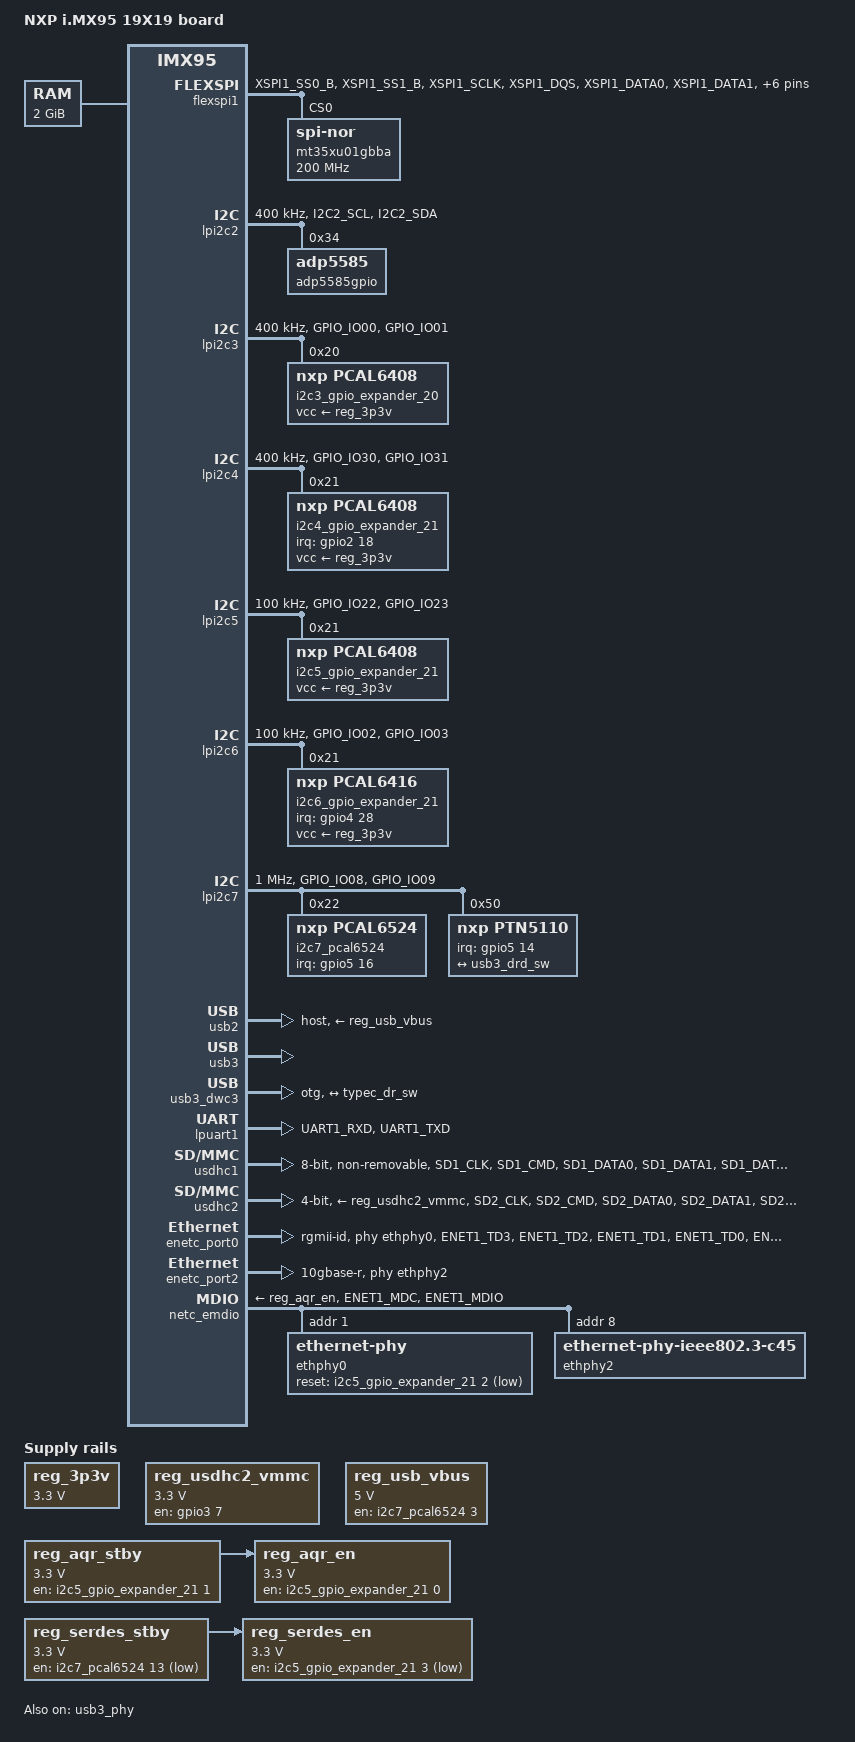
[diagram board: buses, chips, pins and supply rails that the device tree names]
// SPDX-License-Identifier: (GPL-2.0+ OR MIT)
/*
 * Copyright 2023 NXP
 */

/dts-v1/;

#include <dt-bindings/phy/phy-imx8-pcie.h>
#include <dt-bindings/usb/pd.h>
#include "imx95.dtsi"

/ {
	model = "NXP i.MX95 19X19 board";
	compatible = "fsl,imx95-19x19-evk", "fsl,imx95";

	chosen {
		bootargs = "console=ttyLP0,115200 earlycon";
		stdout-path = &lpuart1;
	};

	memory@80000000 {
		device_type = "memory";
		reg = <0x0 0x80000000 0 0x80000000>;
	};


	reg_3p3v: regulator-3p3v {
		compatible = "regulator-fixed";
		regulator-max-microvolt = <3300000>;
		regulator-min-microvolt = <3300000>;
		regulator-name = "+V3.3_SW";
	};
	reg_usdhc2_vmmc: regulator-usdhc2 {
		compatible = "regulator-fixed";
		pinctrl-names = "default";
		pinctrl-0 = <&pinctrl_reg_usdhc2_vmmc>;
		regulator-name = "VDD_SD2_3V3";
		regulator-min-microvolt = <3300000>;
		regulator-max-microvolt = <3300000>;
		gpio = <&gpio3 7 GPIO_ACTIVE_HIGH>;
		off-on-delay-us = <12000>;
		enable-active-high;
	};

	reg_usb_vbus: regulator-vbus {
		compatible = "regulator-fixed";
		regulator-name = "USB_VBUS";
		regulator-min-microvolt = <5000000>;
		regulator-max-microvolt = <5000000>;
		gpio = <&i2c7_pcal6524 3 GPIO_ACTIVE_HIGH>;
		enable-active-high;
		regulator-always-on;
	};

	reg_aqr_stby: regulator-aqr-stby {
		compatible = "regulator-fixed";
		regulator-name = "aqr-stby";
		regulator-min-microvolt = <3300000>;
		regulator-max-microvolt = <3300000>;
		gpio = <&i2c5_gpio_expander_21 1 GPIO_ACTIVE_HIGH>;
		enable-active-high;
	};

	reg_aqr_en: regulator-aqr-en {
		compatible = "regulator-fixed";
		regulator-name = "aqr-en";
		regulator-min-microvolt = <3300000>;
		regulator-max-microvolt = <3300000>;
		vin-supply = <&reg_aqr_stby>;
		gpio = <&i2c5_gpio_expander_21 0 GPIO_ACTIVE_HIGH>;
		enable-active-high;
	};

	reg_serdes_stby: regulator-mac-stby {
		compatible = "regulator-fixed";
		regulator-name = "mac-stby";
		regulator-min-microvolt = <3300000>;
		regulator-max-microvolt = <3300000>;
		gpio = <&i2c7_pcal6524 13 GPIO_ACTIVE_LOW>;
	};

	reg_serdes_en: regulator-mac-en {
		compatible = "regulator-fixed";
		regulator-name = "mac-en";
		regulator-min-microvolt = <3300000>;
		regulator-max-microvolt = <3300000>;
		vin-supply = <&reg_serdes_stby>;
		gpio = <&i2c5_gpio_expander_21 3 GPIO_ACTIVE_LOW>;
	};
};

&flexspi1 {
	pinctrl-names = "default";
	pinctrl-0 = <&pinctrl_flexspi1>;
	status = "okay";

	mt35xu01gbba: flash@0 {
		reg = <0>;
		#address-cells = <1>;
		#size-cells = <1>;
		compatible = "jedec,spi-nor";
		spi-max-frequency = <200000000>;
		spi-tx-bus-width = <8>;
		spi-rx-bus-width = <8>;
	};
};


&lpi2c2 {
	#address-cells = <1>;
	#size-cells = <0>;
	clock-frequency = <400000>;
	pinctrl-names = "default", "sleep";
	pinctrl-0 = <&pinctrl_lpi2c2>;
	pinctrl-1 = <&pinctrl_lpi2c2>;
	status = "okay";

	adp5585gpio: gpio@34 {
		compatible = "adp5585";
		reg = <0x34>;
		gpio-controller;
		#gpio-cells = <2>;
	};
};

&lpi2c3 {
	#address-cells = <1>;
	#size-cells = <0>;
	clock-frequency = <400000>;
	pinctrl-names = "default", "sleep";
	pinctrl-0 = <&pinctrl_lpi2c3>;
	pinctrl-1 = <&pinctrl_lpi2c3>;
	status = "okay";

	i2c3_gpio_expander_20: i2c3-gpio-expander@20 {
		compatible = "nxp,pcal6408";
		#gpio-cells = <2>;
		gpio-controller;
		reg = <0x20>;
		vcc-supply = <&reg_3p3v>;
	};
};

&lpi2c4 {
	#address-cells = <1>;
	#size-cells = <0>;
	clock-frequency = <400000>;
	pinctrl-names = "default", "sleep";
	pinctrl-0 = <&pinctrl_lpi2c4>;
	pinctrl-1 = <&pinctrl_lpi2c4>;
	status = "okay";

	i2c4_gpio_expander_21: i2c4-gpio-expander@21 {
		compatible = "nxp,pcal6408";
		#gpio-cells = <2>;
		gpio-controller;
		reg = <0x21>;
		interrupt-controller;
		#interrupt-cells = <2>;
		interrupt-parent = <&gpio2>;
		interrupts = <18 IRQ_TYPE_LEVEL_LOW>;
		pinctrl-names = "default";
		pinctrl-0 = <&pinctrl_i2c4_pcal6408>;
		vcc-supply = <&reg_3p3v>;
	};
};

&lpi2c5 {
	#address-cells = <1>;
	#size-cells = <0>;
	clock-frequency = <100000>;
	pinctrl-names = "default", "sleep";
	pinctrl-0 = <&pinctrl_lpi2c5>;
	pinctrl-1 = <&pinctrl_lpi2c5>;
	status = "okay";

	i2c5_gpio_expander_21: i2c5-gpio-expander@21 {
		compatible = "nxp,pcal6408";
		#gpio-cells = <2>;
		gpio-controller;
		reg = <0x21>;
		vcc-supply = <&reg_3p3v>;
	};

	/* ENET PMIC MPF5103 addr 0x8 */
};

&lpi2c6 {
	#address-cells = <1>;
	#size-cells = <0>;
	clock-frequency = <100000>;
	pinctrl-names = "default", "sleep";
	pinctrl-0 = <&pinctrl_lpi2c6>;
	pinctrl-1 = <&pinctrl_lpi2c6>;
	status = "okay";

	i2c6_gpio_expander_21: i2c6-gpio-expander@21 {
		compatible = "nxp,pcal6416";
		#gpio-cells = <2>;
		gpio-controller;
		reg = <0x21>;
		interrupt-controller;
		#interrupt-cells = <2>;
		interrupt-parent = <&gpio4>;
		interrupts = <28 IRQ_TYPE_LEVEL_LOW>;
		pinctrl-names = "default";
		pinctrl-0 = <&pinctrl_pcal6416>;
		vcc-supply = <&reg_3p3v>;
	};
};

&lpi2c7 {
	#address-cells = <1>;
	#size-cells = <0>;
	clock-frequency = <1000000>;
	pinctrl-names = "default", "sleep";
	pinctrl-0 = <&pinctrl_lpi2c7>;
	pinctrl-1 = <&pinctrl_lpi2c7>;
	status = "okay";

	i2c7_pcal6524: i2c7-gpio@22 {
		compatible = "nxp,pcal6524";
		pinctrl-names = "default";
		pinctrl-0 = <&pinctrl_i2c7_pcal6524>;
		reg = <0x22>;
		gpio-controller;
		#gpio-cells = <2>;
		interrupt-controller;
		#interrupt-cells = <2>;
		interrupt-parent = <&gpio5>;
		interrupts = <16 IRQ_TYPE_LEVEL_LOW>;
	};

	ptn5110: tcpc@50 {
		compatible = "nxp,ptn5110";
		reg = <0x50>;
		interrupt-parent = <&gpio5>;
		interrupts = <14 IRQ_TYPE_LEVEL_LOW>;
		pinctrl-names = "default";
		pinctrl-0 = <&pinctrl_ptn5110>;

		port {
			typec_dr_sw: endpoint {
				remote-endpoint = <&usb3_drd_sw>;
			};
		};

		typec1_con: connector {
			compatible = "usb-c-connector";
			label = "USB-C";
			power-role = "dual";
			data-role = "dual";
			try-power-role = "sink";
			source-pdos = <PDO_FIXED(5000, 3000, PDO_FIXED_USB_COMM)>;
			sink-pdos = <PDO_FIXED(5000, 3000, PDO_FIXED_USB_COMM)
				     PDO_VAR(5000, 20000, 3000)>;
			op-sink-microwatt = <15000000>;
			self-powered;
		};
	};

	/* SI5332 */
};

&usb2 {
	dr_mode = "host";
	vbus-supply = <&reg_usb_vbus>;
	hnp-disable;
	srp-disable;
	adp-disable;
	disable-over-current;
	status = "okay";
};

&usb3 {
	status = "okay";
};

&usb3_phy {
	status = "okay";
};

&usb3_dwc3 {
	dr_mode = "otg";
	hnp-disable;
	srp-disable;
	adp-disable;
	usb-role-switch;
	role-switch-default-mode = "none";
	snps,dis-u1-entry-quirk;
	snps,dis-u2-entry-quirk;
	status = "okay";

	port {
		usb3_drd_sw: endpoint {
			remote-endpoint = <&typec_dr_sw>;
		};
	};
};

&lpuart1 {
	/* console */
	pinctrl-names = "default";
	pinctrl-0 = <&pinctrl_uart1>;
	status = "okay";
};

&usdhc1 {
	pinctrl-names = "default", "state_100mhz", "state_200mhz";
	pinctrl-0 = <&pinctrl_usdhc1>;
	pinctrl-1 = <&pinctrl_usdhc1_100mhz>;
	pinctrl-2 = <&pinctrl_usdhc1_200mhz>;
	bus-width = <8>;
	non-removable;
	no-sdio;
	no-sd;
	status = "okay";
};

&usdhc2 {
	pinctrl-names = "default", "state_100mhz", "state_200mhz";
	pinctrl-0 = <&pinctrl_usdhc2>, <&pinctrl_usdhc2_gpio>;
	pinctrl-1 = <&pinctrl_usdhc2_100mhz>, <&pinctrl_usdhc2_gpio>;
	pinctrl-2 = <&pinctrl_usdhc2_200mhz>, <&pinctrl_usdhc2_gpio>;
	cd-gpios = <&gpio3 00 GPIO_ACTIVE_LOW>;
	vmmc-supply = <&reg_usdhc2_vmmc>;
	bus-width = <4>;
	status = "okay";
};

&enetc_port0 {
	pinctrl-names = "default";
	pinctrl-0 = <&pinctrl_enetc0>;
	phy-handle = <&ethphy0>;
	phy-mode = "rgmii-id";
	status = "okay";
};

&enetc_port2 {
	phy-handle = <&ethphy2>;
	phy-mode = "10gbase-r";
	serdes-supply = <&reg_serdes_en>;
	managed = "in-band-status";
	status = "okay";
};

&netc_emdio {
	pinctrl-names = "default";
	pinctrl-0 = <&pinctrl_emdio>;
	phy-supply = <&reg_aqr_en>;
	status = "okay";

	ethphy0: ethernet-phy@1 {
		reg = <1>;
		eee-broken-1000t;
		reset-gpios = <&i2c5_gpio_expander_21 2 GPIO_ACTIVE_LOW>;
		reset-assert-us = <10000>;
		reset-deassert-us = <80000>;
	};

	ethphy2: ethernet-phy@8 {
		compatible = "ethernet-phy-ieee802.3-c45";
		reg = <8>;
	};
};

&scmi_iomuxc {
	pinctrl_flexcan1: flexcan1grp {
		fsl,pins = <
			IMX95_PAD_PDM_CLK__AONMIX_TOP_CAN1_TX		0x39e
			IMX95_PAD_PDM_BIT_STREAM0__AONMIX_TOP_CAN1_RX	0x39e
		>;
	};

	pinctrl_flexcan2: flexcan2grp {
		fsl,pins = <
			IMX95_PAD_GPIO_IO25__CAN2_TX			0x39e
			IMX95_PAD_GPIO_IO27__CAN2_RX			0x39e
		>;
	};

	pinctrl_lpi2c1: lpi2c1grp {
		fsl,pins = <
			IMX95_PAD_I2C1_SCL__AONMIX_TOP_LPI2C1_SCL	0x40000b9e
			IMX95_PAD_I2C1_SDA__AONMIX_TOP_LPI2C1_SDA	0x40000b9e
		>;
	};

	pinctrl_lpi2c2: lpi2c2grp {
		fsl,pins = <
			IMX95_PAD_I2C2_SCL__AONMIX_TOP_LPI2C2_SCL	0x40000b9e
			IMX95_PAD_I2C2_SDA__AONMIX_TOP_LPI2C2_SDA	0x40000b9e
		>;
	};

	pinctrl_lpi2c3: lpi2c3grp {
		fsl,pins = <
			IMX95_PAD_GPIO_IO00__LPI2C3_SDA			0x40000b9e
			IMX95_PAD_GPIO_IO01__LPI2C3_SCL			0x40000b9e
		>;
	};

	pinctrl_lpi2c4: lpi2c4grp {
		fsl,pins = <
			IMX95_PAD_GPIO_IO30__LPI2C4_SDA			0x40000b9e
			IMX95_PAD_GPIO_IO31__LPI2C4_SCL			0x40000b9e
		>;
	};

	pinctrl_lpi2c5: lpi2c5grp {
		fsl,pins = <
			IMX95_PAD_GPIO_IO22__LPI2C5_SDA			0x40000b9e
			IMX95_PAD_GPIO_IO23__LPI2C5_SCL			0x40000b9e
		>;
	};

	pinctrl_lpi2c6: lpi2c6grp {
		fsl,pins = <
			IMX95_PAD_GPIO_IO02__LPI2C6_SDA			0x40000b9e
			IMX95_PAD_GPIO_IO03__LPI2C6_SCL			0x40000b9e
		>;
	};

	pinctrl_lpi2c7: lpi2c7grp {
		fsl,pins = <
			IMX95_PAD_GPIO_IO08__LPI2C7_SDA			0x40000b9e
			IMX95_PAD_GPIO_IO09__LPI2C7_SCL			0x40000b9e
		>;
	};

	pinctrl_uart1: uart1grp {
		fsl,pins = <
			IMX95_PAD_UART1_RXD__AONMIX_TOP_LPUART1_RX      0x31e
			IMX95_PAD_UART1_TXD__AONMIX_TOP_LPUART1_TX      0x31e
		>;
	};

	pinctrl_emdio: emdiogrp{
		fsl,pins = <
			IMX95_PAD_ENET1_MDC__NETCMIX_TOP_NETC_MDC		0x57e
			IMX95_PAD_ENET1_MDIO__NETCMIX_TOP_NETC_MDIO		0x97e
		>;
	};

	pinctrl_enetc0: enetc0grp {
		fsl,pins = <
			IMX95_PAD_ENET1_TD3__NETCMIX_TOP_ETH0_RGMII_TD3		0x57e
			IMX95_PAD_ENET1_TD2__NETCMIX_TOP_ETH0_RGMII_TD2		0x57e
			IMX95_PAD_ENET1_TD1__NETCMIX_TOP_ETH0_RGMII_TD1		0x57e
			IMX95_PAD_ENET1_TD0__NETCMIX_TOP_ETH0_RGMII_TD0		0x57e
			IMX95_PAD_ENET1_TX_CTL__NETCMIX_TOP_ETH0_RGMII_TX_CTL	0x57e
			IMX95_PAD_ENET1_TXC__NETCMIX_TOP_ETH0_RGMII_TX_CLK	0x5fe
			IMX95_PAD_ENET1_RX_CTL__NETCMIX_TOP_ETH0_RGMII_RX_CTL	0x57e
			IMX95_PAD_ENET1_RXC__NETCMIX_TOP_ETH0_RGMII_RX_CLK	0x5fe
			IMX95_PAD_ENET1_RD0__NETCMIX_TOP_ETH0_RGMII_RD0		0x57e
			IMX95_PAD_ENET1_RD1__NETCMIX_TOP_ETH0_RGMII_RD1		0x57e
			IMX95_PAD_ENET1_RD2__NETCMIX_TOP_ETH0_RGMII_RD2		0x57e
			IMX95_PAD_ENET1_RD3__NETCMIX_TOP_ETH0_RGMII_RD3		0x57e
		>;
	};

	pinctrl_enetc1: enetc1grp {
		fsl,pins = <
			IMX95_PAD_ENET2_TD3__NETCMIX_TOP_ETH1_RGMII_TD3		0x57e
			IMX95_PAD_ENET2_TD2__NETCMIX_TOP_ETH1_RGMII_TD2		0x57e
			IMX95_PAD_ENET2_TD1__NETCMIX_TOP_ETH1_RGMII_TD1		0x57e
			IMX95_PAD_ENET2_TD0__NETCMIX_TOP_ETH1_RGMII_TD0		0x57e
			IMX95_PAD_ENET2_TX_CTL__NETCMIX_TOP_ETH1_RGMII_TX_CTL	0x57e
			IMX95_PAD_ENET2_TXC__NETCMIX_TOP_ETH1_RGMII_TX_CLK	0x5fe
			IMX95_PAD_ENET2_RX_CTL__NETCMIX_TOP_ETH1_RGMII_RX_CTL	0x57e
			IMX95_PAD_ENET2_RXC__NETCMIX_TOP_ETH1_RGMII_RX_CLK	0x5fe
			IMX95_PAD_ENET2_RD0__NETCMIX_TOP_ETH1_RGMII_RD0		0x57e
			IMX95_PAD_ENET2_RD1__NETCMIX_TOP_ETH1_RGMII_RD1		0x57e
			IMX95_PAD_ENET2_RD2__NETCMIX_TOP_ETH1_RGMII_RD2		0x57e
			IMX95_PAD_ENET2_RD3__NETCMIX_TOP_ETH1_RGMII_RD3		0x57e
		>;
	};

	pinctrl_flexspi1: flexspi1grp {
		fsl,pins = <
			IMX95_PAD_XSPI1_SS0_B__FLEXSPI1_A_SS0_B			0x3fe
			IMX95_PAD_XSPI1_SS1_B__GPIO5_IO_BIT11			0x3fe
			IMX95_PAD_XSPI1_SCLK__FLEXSPI1_A_SCLK			0x3fe
			IMX95_PAD_XSPI1_DQS__FLEXSPI1_A_DQS			0x3fe
			IMX95_PAD_XSPI1_DATA0__FLEXSPI1_A_DATA_BIT0		0x3fe
			IMX95_PAD_XSPI1_DATA1__FLEXSPI1_A_DATA_BIT1		0x3fe
			IMX95_PAD_XSPI1_DATA2__FLEXSPI1_A_DATA_BIT2		0x3fe
			IMX95_PAD_XSPI1_DATA3__FLEXSPI1_A_DATA_BIT3		0x3fe
			IMX95_PAD_XSPI1_DATA4__FLEXSPI1_A_DATA_BIT4		0x3fe
			IMX95_PAD_XSPI1_DATA5__FLEXSPI1_A_DATA_BIT5		0x3fe
			IMX95_PAD_XSPI1_DATA6__FLEXSPI1_A_DATA_BIT6		0x3fe
			IMX95_PAD_XSPI1_DATA7__FLEXSPI1_A_DATA_BIT7		0x3fe
		>;
	};

	pinctrl_i2c1_pcal6408: i2c1pcal6498grp {
		fsl,pins = <
			IMX95_PAD_PDM_BIT_STREAM1__AONMIX_TOP_GPIO1_IO_BIT10	0x31e
		>;
	};

	pinctrl_i2c2_pcal6524: i2c2pcal6524grp {
		fsl,pins = <
			IMX95_PAD_GPIO_IO34__GPIO5_IO_BIT14			0x31e
		>;
	};

	pinctrl_i2c4_pcal6408: i2c4pcal6498grp {
		fsl,pins = <
			IMX95_PAD_GPIO_IO18__GPIO2_IO_BIT18			0x31e
		>;
	};

	pinctrl_i2c7_pcal6524: i2c7pcal6524grp {
		fsl,pins = <
			IMX95_PAD_GPIO_IO36__GPIO5_IO_BIT16			0x31e
		>;
	};

	pinctrl_pcal6416: pcal6416grp {
		fsl,pins = <
			IMX95_PAD_CCM_CLKO3__GPIO4_IO_BIT28			0x31e
		>;
	};

	pinctrl_ptn5110: ptn5110grp {
		fsl,pins = <
			IMX95_PAD_GPIO_IO34__GPIO5_IO_BIT14			0x31e
		>;
	};

	pinctrl_usdhc1: usdhc1grp {
		fsl,pins = <
			IMX95_PAD_SD1_CLK__USDHC1_CLK				0x158e
			IMX95_PAD_SD1_CMD__USDHC1_CMD				0x138e
			IMX95_PAD_SD1_DATA0__USDHC1_DATA0			0x138e
			IMX95_PAD_SD1_DATA1__USDHC1_DATA1			0x138e
			IMX95_PAD_SD1_DATA2__USDHC1_DATA2			0x138e
			IMX95_PAD_SD1_DATA3__USDHC1_DATA3			0x138e
			IMX95_PAD_SD1_DATA4__USDHC1_DATA4			0x138e
			IMX95_PAD_SD1_DATA5__USDHC1_DATA5			0x138e
			IMX95_PAD_SD1_DATA6__USDHC1_DATA6			0x138e
			IMX95_PAD_SD1_DATA7__USDHC1_DATA7			0x138e
			IMX95_PAD_SD1_STROBE__USDHC1_STROBE			0x158e
		>;
	};

	pinctrl_usdhc1_100mhz: usdhc1-100mhzgrp {
		fsl,pins = <
			IMX95_PAD_SD1_CLK__USDHC1_CLK				0x158e
			IMX95_PAD_SD1_CMD__USDHC1_CMD				0x138e
			IMX95_PAD_SD1_DATA0__USDHC1_DATA0			0x138e
			IMX95_PAD_SD1_DATA1__USDHC1_DATA1			0x138e
			IMX95_PAD_SD1_DATA2__USDHC1_DATA2			0x138e
			IMX95_PAD_SD1_DATA3__USDHC1_DATA3			0x138e
			IMX95_PAD_SD1_DATA4__USDHC1_DATA4			0x138e
			IMX95_PAD_SD1_DATA5__USDHC1_DATA5			0x138e
			IMX95_PAD_SD1_DATA6__USDHC1_DATA6			0x138e
			IMX95_PAD_SD1_DATA7__USDHC1_DATA7			0x138e
			IMX95_PAD_SD1_STROBE__USDHC1_STROBE			0x158e
		>;
	};

	pinctrl_usdhc1_200mhz: usdhc1-200mhzgrp {
		fsl,pins = <
			IMX95_PAD_SD1_CLK__USDHC1_CLK				0x15fe
			IMX95_PAD_SD1_CMD__USDHC1_CMD				0x13fe
			IMX95_PAD_SD1_DATA0__USDHC1_DATA0			0x13fe
			IMX95_PAD_SD1_DATA1__USDHC1_DATA1			0x13fe
			IMX95_PAD_SD1_DATA2__USDHC1_DATA2			0x13fe
			IMX95_PAD_SD1_DATA3__USDHC1_DATA3			0x13fe
			IMX95_PAD_SD1_DATA4__USDHC1_DATA4			0x13fe
			IMX95_PAD_SD1_DATA5__USDHC1_DATA5			0x13fe
			IMX95_PAD_SD1_DATA6__USDHC1_DATA6			0x13fe
			IMX95_PAD_SD1_DATA7__USDHC1_DATA7			0x13fe
			IMX95_PAD_SD1_STROBE__USDHC1_STROBE			0x15fe
		>;
	};

	pinctrl_reg_usdhc2_vmmc: regusdhc2vmmcgrp {
		fsl,pins = <
			IMX95_PAD_SD2_RESET_B__GPIO3_IO_BIT7			0x31e
		>;
	};

	pinctrl_usdhc2_gpio: usdhc2gpiogrp {
		fsl,pins = <
			IMX95_PAD_SD2_CD_B__GPIO3_IO_BIT0			0x31e
		>;
	};

	pinctrl_usdhc2: usdhc2grp {
		fsl,pins = <
			IMX95_PAD_SD2_CLK__USDHC2_CLK				0x158e
			IMX95_PAD_SD2_CMD__USDHC2_CMD				0x138e
			IMX95_PAD_SD2_DATA0__USDHC2_DATA0			0x138e
			IMX95_PAD_SD2_DATA1__USDHC2_DATA1			0x138e
			IMX95_PAD_SD2_DATA2__USDHC2_DATA2			0x138e
			IMX95_PAD_SD2_DATA3__USDHC2_DATA3			0x138e
			IMX95_PAD_SD2_VSELECT__USDHC2_VSELECT			0x51e
		>;
	};

	pinctrl_usdhc2_100mhz: usdhc2-100mhzgrp {
		fsl,pins = <
			IMX95_PAD_SD2_CLK__USDHC2_CLK				0x158e
			IMX95_PAD_SD2_CMD__USDHC2_CMD				0x138e
			IMX95_PAD_SD2_DATA0__USDHC2_DATA0			0x138e
			IMX95_PAD_SD2_DATA1__USDHC2_DATA1			0x138e
			IMX95_PAD_SD2_DATA2__USDHC2_DATA2			0x138e
			IMX95_PAD_SD2_DATA3__USDHC2_DATA3			0x138e
			IMX95_PAD_SD2_VSELECT__USDHC2_VSELECT			0x51e
		>;
	};

	pinctrl_usdhc2_200mhz: usdhc2-200mhzgrp {
		fsl,pins = <
			IMX95_PAD_SD2_CLK__USDHC2_CLK				0x15fe
			IMX95_PAD_SD2_CMD__USDHC2_CMD				0x13fe
			IMX95_PAD_SD2_DATA0__USDHC2_DATA0			0x13fe
			IMX95_PAD_SD2_DATA1__USDHC2_DATA1			0x13fe
			IMX95_PAD_SD2_DATA2__USDHC2_DATA2			0x13fe
			IMX95_PAD_SD2_DATA3__USDHC2_DATA3			0x13fe
			IMX95_PAD_SD2_VSELECT__USDHC2_VSELECT			0x51e
		>;
	};

	pinctrl_mipi_dsi_csi: mipidsigrp {
		fsl,pins = <
			IMX95_PAD_CCM_CLKO2__GPIO3_IO_BIT27			0x31e
		>;
	};
};
